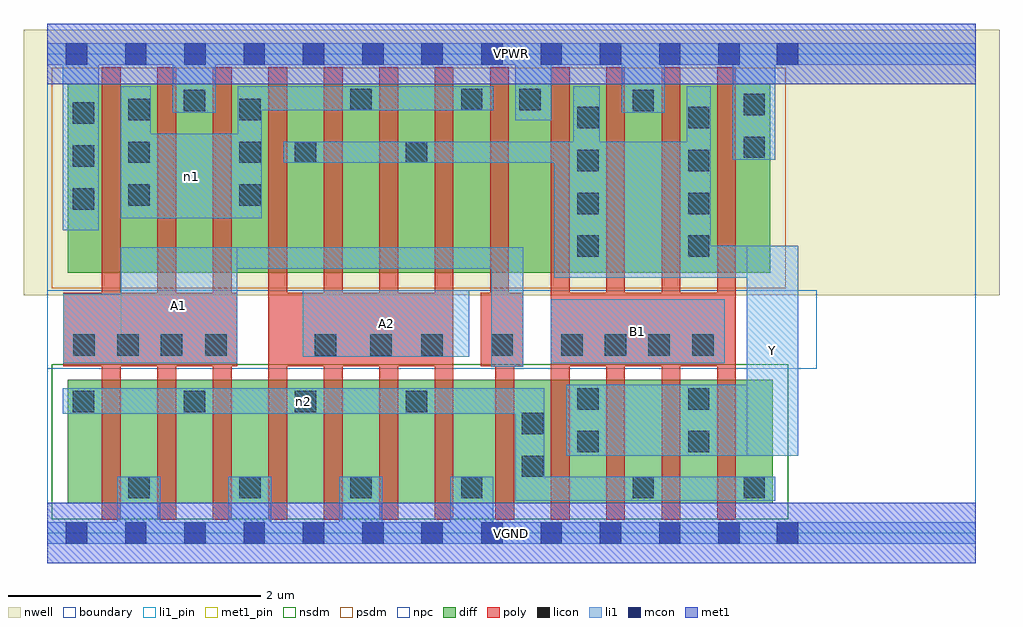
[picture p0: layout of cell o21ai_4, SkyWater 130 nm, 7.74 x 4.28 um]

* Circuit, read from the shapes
.subckt o21ai_4 A1 A2 B1 VGND VPWR Y n1 n2
XM1 VGND A1 n2 VSUBS sky130_fd_pr__nfet_01v8 w=0.98 l=0.15 m=4
XM2 n2 A2 VGND VSUBS sky130_fd_pr__nfet_01v8 w=0.98 l=0.15 m=4
XM3 Y B1 n2 VSUBS sky130_fd_pr__nfet_01v8 w=0.98 l=0.15 m=4
XM4 n1 A1 VPWR n3 sky130_fd_pr__pfet_01v8 w=1.5 l=0.15 m=4
XM5 Y A2 n1 n3 sky130_fd_pr__pfet_01v8 w=1.5 l=0.15 m=4
XM6 Y B1 VPWR n3 sky130_fd_pr__pfet_01v8 w=1.5 l=0.15 m=4
.ends

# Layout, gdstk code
import gdstk
lib = gdstk.Library(unit=1e-6, precision=1e-09)
def R(c, l, rs):  # rectangles x0, y0, x1, y1
    for r in rs: c.add(gdstk.rectangle(r[:2], r[2:], *l))
def A(c, l, x, y, w, h, nx, ny, dx, dy):  # array of equal rectangles
    R(c, l, [(x+i*dx, y+j*dy, x+i*dx+w, y+j*dy+h) for i in range(nx) for j in range(ny)])
nwell = (64, 20)
diff = (65, 20)
poly = (66, 20)
licon = (66, 44)
li1_pin = (67, 16)
li1 = (67, 20)
mcon = (67, 44)
met1_pin = (68, 16)
met1 = (68, 20)
nsdm = (93, 44)
psdm = (94, 20)
npc = (95, 20)
boundary = (235, 4)

o21ai_4 = lib.new_cell('o21ai_4')
R(o21ai_4, nwell, [(-0.19,1.885,7.55,3.99), (0,1.885,7.36,3.99)])
R(o21ai_4, diff, [(0.16,0.235,5.75,1.215), (0.16,2.065,5.73,3.565)])
A(o21ai_4, poly, 0.43, 0.105, 0.15, 3.59, 7, 1, 0.44, 0)
A(o21ai_4, poly, 3.99, 0.105, 0.15, 3.59, 4, 1, 0.44, 0)
R(o21ai_4, poly, [(3.55,0.105,3.7,1.905), (0.125,1.325,1.505,1.905), (1.75,1.325,3.22,1.905), (3.435,1.325,3.775,1.905), (3.51,1.325,3.66,3.695), (3.99,1.325,5.46,1.905)])
A(o21ai_4, licon, 0.64, 0.275, 0.17, 0.17, 4, 1, 0.88, 0)
A(o21ai_4, licon, 0.2, 0.96, 0.17, 0.17, 4, 1, 0.88, 0)
A(o21ai_4, licon, 2.965, 1.405, 0.17, 0.17, 3, 1, 0.555, 0)
A(o21ai_4, licon, 4.2, 2.19, 0.17, 0.17, 1, 4, 0, 0.34)
A(o21ai_4, licon, 5.08, 2.19, 0.17, 0.17, 1, 4, 0, 0.34)
A(o21ai_4, licon, 0.2, 2.565, 0.17, 0.17, 1, 3, 0, 0.34)
A(o21ai_4, licon, 0.64, 2.595, 0.17, 0.17, 1, 3, 0, 0.34)
A(o21ai_4, licon, 1.52, 2.595, 0.17, 0.17, 1, 3, 0, 0.34)
R(o21ai_4, licon, [(4.64,0.275,4.81,0.445), (5.52,0.275,5.69,0.445), (3.76,0.445,3.93,0.615), (4.2,0.64,4.37,0.81), (5.08,0.64,5.25,0.81), (3.76,0.785,3.93,0.955), (4.2,0.98,4.37,1.15), (5.08,0.98,5.25,1.15), (0.205,1.405,0.375,1.575), (0.555,1.405,0.725,1.575), (0.9,1.405,1.07,1.575), (1.25,1.405,1.42,1.575), (2.12,1.405,2.29,1.575), (2.56,1.405,2.73,1.575), (4.42,1.405,4.59,1.575), (4.765,1.405,4.935,1.575), (5.115,1.405,5.285,1.575), (1.96,2.935,2.13,3.105), (2.84,2.935,3.01,3.105), (5.52,2.975,5.69,3.145), (5.52,3.315,5.69,3.485), (1.08,3.345,1.25,3.515), (4.64,3.345,4.81,3.515), (2.4,3.355,2.57,3.525), (3.28,3.355,3.45,3.525), (3.74,3.355,3.91,3.525)])
R(o21ai_4, li1_pin, [(5.545,0.615,5.955,2.28), (0.58,1.345,1.505,2.265), (3.99,1.345,5.37,1.855), (2.025,1.4,3.345,1.925)])
A(o21ai_4, li1, 0.555, -0.085, 0.34, 0.53, 4, 1, 0.88, 0)
R(o21ai_4, li1, [(0,-0.085,7.36,0.085), (3.71,0.255,5.77,0.445), (3.71,0.255,3.94,1.15), (4.115,0.615,5.955,1.175), (5.545,0.615,5.955,2.28), (0.12,0.945,3.94,1.15), (3.52,1.32,3.775,2.265), (0.125,1.345,1.505,1.9), (0.58,1.345,1.505,2.265), (3.99,1.345,5.37,1.855), (2.025,1.4,3.345,1.925), (4.02,2.025,5.955,2.28), (4.02,2.025,5.26,2.935), (4.17,2.025,5.07,2.665), (4.17,2.025,4.38,3.545), (5.07,2.025,5.26,3.545), (0.58,2.095,3.775,2.265), (0.12,2.4,0.405,3.885), (0.58,2.495,1.7,3.165), (0.58,2.495,0.82,3.545), (1.51,2.495,1.7,3.545), (1.875,2.935,5.26,3.105), (5.435,2.96,5.77,3.885), (3.71,3.275,3.995,3.885), (0.995,3.335,1.335,3.885), (4.555,3.335,4.895,3.885), (1.51,3.355,3.535,3.545), (0,3.715,7.36,3.885)])
A(o21ai_4, mcon, 0.145, -0.085, 0.17, 0.17, 7, 2, 0.47, 3.8)
A(o21ai_4, mcon, 3.44, -0.085, 0.17, 0.17, 5, 2, 0.47, 3.8)
R(o21ai_4, mcon, [(5.785,-0.085,5.955,0.085), (5.785,3.715,5.955,3.885)])
R(o21ai_4, met1_pin, [(0,-0.24,7.36,0.24), (0,3.56,7.36,4.04)])
R(o21ai_4, met1, [(0,-0.24,7.36,0.24), (0,3.56,7.36,4.04)])
R(o21ai_4, nsdm, [(0.035,0.11,5.875,1.34)])
R(o21ai_4, psdm, [(0.035,1.94,5.855,3.69)])
R(o21ai_4, npc, [(0,1.305,6.1,1.925)])
R(o21ai_4, boundary, [(0,0,7.36,3.8)])
o21ai_4.add(gdstk.Label('A1', (1.042,1.805), layer=67, texttype=5))
o21ai_4.add(gdstk.Label('A2', (2.685,1.662), layer=67, texttype=5))
o21ai_4.add(gdstk.Label('B1', (4.68,1.6), layer=67, texttype=5))
o21ai_4.add(gdstk.Label('Y', (5.75,1.447), layer=67, texttype=5))
o21ai_4.add(gdstk.Label('n2', (2.03,1.047), layer=67, texttype=5))
o21ai_4.add(gdstk.Label('n1', (1.14,2.83), layer=67, texttype=5))
o21ai_4.add(gdstk.Label('VPWR', (3.68,3.8), layer=68, texttype=5))
o21ai_4.add(gdstk.Label('VGND', (3.68,0), layer=68, texttype=5))
o21ai_4.add(gdstk.Label('A1', (1.042,1.805), layer=67, texttype=16))
o21ai_4.add(gdstk.Label('A2', (2.685,1.662), layer=67, texttype=16))
o21ai_4.add(gdstk.Label('B1', (4.68,1.6), layer=67, texttype=16))
o21ai_4.add(gdstk.Label('Y', (5.75,1.447), layer=67, texttype=16))
o21ai_4.add(gdstk.Label('VPWR', (3.68,3.8), layer=68, texttype=16))
o21ai_4.add(gdstk.Label('VGND', (3.68,0), layer=68, texttype=16))

lib.write_gds('o21ai_4.gds')
